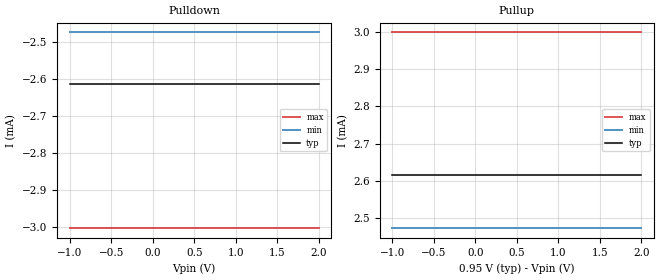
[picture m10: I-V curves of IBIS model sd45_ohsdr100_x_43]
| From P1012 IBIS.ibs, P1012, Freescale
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[Model]   sd45_ohsdr100_x_43
Model_type 3-state
Enable Active-High
Polarity Non-Inverting
|   TYP   MIN   MAX
C_comp   0.00pF   0.00pF   0.00pF
[Model Spec]
Vmeas   0.475   0.425   0.605
[Temperature Range] 65   125   -40
[Voltage Range]   0.95   0.85   1.21
[Pullup]
|   Vout(V)   TYP   WCS   BCS
-1V       2.615mA    2.472mA    3mA
2V        2.615mA    2.472mA    3mA
[Pulldown]
|   Vout(V)   TYP   WCS   BCS
-1V       -2.614mA   -2.474mA   -3.003mA
2V        -2.614mA   -2.474mA   -3.003mA
[GND Clamp]
|   Vout(V)   TYP   WCS   BCS
-1V       0A         0A         0A
1V        0A         0A         0A
[POWER Clamp]
|   Vout(V)   TYP   WCS   BCS
-1V       0A         0A         0A
0V        0A         0A         0A
[Ramp]
R_load=50
dV/dt_r  1.9939e-01/6.4174e-11  1.7268e-01/6.5633e-11  2.6621e-01/6.5297e-11
dV/dt_f  1.9939e-01/6.5911e-11  1.7267e-01/6.8201e-11  2.6623e-01/6.6334e-11
|[End   sd45_ohsdr100_x_43
